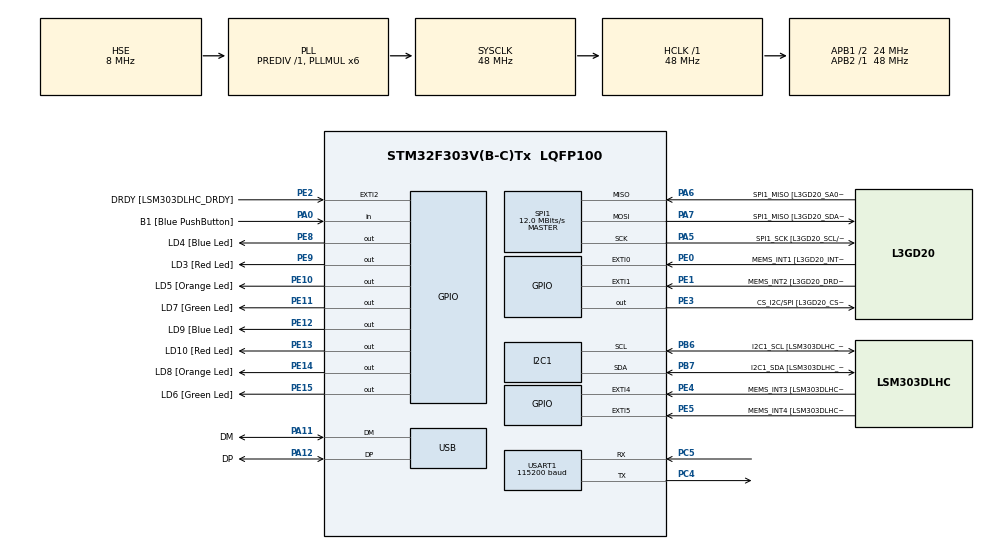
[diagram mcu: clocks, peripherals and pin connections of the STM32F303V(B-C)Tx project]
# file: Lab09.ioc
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I2C1.Timing=0x00201D2B
I2C1.Timing-I2C=0x2000090E
Mcu.Family=STM32F3
Mcu.Name=STM32F303V(B-C)Tx
Mcu.Package=LQFP100
NVIC.PriorityGroup=NVIC_PRIORITYGROUP_0
NVIC.USB_LP_CAN_RX0_IRQn=true\:0\:0\:false\:false\:true\:false\:true\:true
PA0.GPIO_Label=B1 [Blue PushButton]
PA0.Signal=GPIO_Input
PA11.GPIO_Label=DM
PA11.Mode=Device
PA11.Signal=USB_DM
PA12.GPIO_Label=DP
PA12.Mode=Device
PA12.Signal=USB_DP
PA13.GPIO_Label=SWDIO
PA13.Mode=Serial_Wire
PA13.Signal=SYS_JTMS-SWDIO
PA14.GPIO_Label=SWCLK
PA14.Mode=Serial_Wire
PA14.Signal=SYS_JTCK-SWCLK
PA5.GPIO_Label=SPI1_SCK [L3GD20_SCL/SPC]
PA5.Mode=Full_Duplex_Master
PA5.Signal=SPI1_SCK
PA6.GPIO_Label=SPI1_MISO [L3GD20_SA0/SDO]
PA6.Mode=Full_Duplex_Master
PA6.Signal=SPI1_MISO
PA7.GPIO_Label=SPI1_MISO [L3GD20_SDA/SDI/SDO]
PA7.Mode=Full_Duplex_Master
PA7.Signal=SPI1_MOSI
PB3.GPIO_Label=SWO
PB3.Signal=SYS_JTDO-TRACESWO
PB6.GPIO_Label=I2C1_SCL [LSM303DLHC_SCL]
PB6.GPIO_Pu=GPIO_PULLUP
PB6.Mode=I2C
PB6.Signal=I2C1_SCL
PB7.GPIO_Label=I2C1_SDA [LSM303DLHC_SDA]
PB7.GPIO_Pu=GPIO_PULLUP
PB7.Mode=I2C
PB7.Signal=I2C1_SDA
PC14-OSC32_IN.GPIO_Label=OSC32_IN
PC14-OSC32_IN.Signal=RCC_OSC32_IN
PC15-OSC32_OUT.GPIO_Label=OSC32_OUT
PC15-OSC32_OUT.Signal=RCC_OSC32_OUT
PC4.Mode=Asynchronous
PC4.Signal=USART1_TX
PC5.Mode=Asynchronous
PC5.Signal=USART1_RX
PE0.GPIO_Label=MEMS_INT1 [L3GD20_INT1]
PE0.GPIO_ModeDefaultEXTI=GPIO_MODE_EVT_RISING
PE0.Signal=GPXTI0
PE1.GPIO_Label=MEMS_INT2 [L3GD20_DRDY/INT2]
PE1.GPIO_ModeDefaultEXTI=GPIO_MODE_EVT_RISING
PE1.Signal=GPXTI1
PE10.GPIO_Label=LD5 [Orange Led]
PE10.Signal=GPIO_Output
PE11.GPIO_Label=LD7 [Green Led]
PE11.Signal=GPIO_Output
PE12.GPIO_Label=LD9 [Blue Led]
PE12.Signal=GPIO_Output
PE13.GPIO_Label=LD10 [Red Led]
PE13.Signal=GPIO_Output
PE14.GPIO_Label=LD8 [Orange Led]
PE14.Signal=GPIO_Output
PE15.GPIO_Label=LD6 [Green Led]
PE15.Signal=GPIO_Output
PE2.GPIO_Label=DRDY [LSM303DLHC_DRDY]
PE2.GPIO_ModeDefaultEXTI=GPIO_MODE_EVT_RISING
PE2.Signal=GPXTI2
PE3.GPIO_Label=CS_I2C/SPI [L3GD20_CS_I2C/SPI]
PE3.Signal=GPIO_Output
PE4.GPIO_Label=MEMS_INT3 [LSM303DLHC_INT1]
PE4.GPIO_ModeDefaultEXTI=GPIO_MODE_EVT_RISING
PE4.Signal=GPXTI4
PE5.GPIO_Label=MEMS_INT4 [LSM303DLHC_INT2]
PE5.GPIO_ModeDefaultEXTI=GPIO_MODE_EVT_RISING
PE5.Signal=GPXTI5
PE8.GPIO_Label=LD4 [Blue Led]
PE8.Signal=GPIO_Output
PE9.GPIO_Label=LD3 [Red Led]
PE9.Signal=GPIO_Output
PF0-OSC_IN.GPIO_Label=OSC_IN
PF0-OSC_IN.Mode=HSE-External-Clock-Source
PF0-OSC_IN.Signal=RCC_OSC_IN
PF1-OSC_OUT.GPIO_Label=OSC_OUT
PF1-OSC_OUT.Signal=RCC_OSC_OUT
ProjectManager.HeapSize=0x200
ProjectManager.StackSize=0x400
ProjectManager.TargetToolchain=CMake
RCC.AHBFreq_Value=48000000
RCC.APB1CLKDivider=RCC_HCLK_DIV2
RCC.APB1Freq_Value=24000000
RCC.APB1TimFreq_Value=48000000
RCC.APB2Freq_Value=48000000
RCC.APB2TimFreq_Value=48000000
RCC.CortexFreq_Value=48000000
RCC.HCLKFreq_Value=48000000
RCC.HSE_VALUE=8000000
RCC.HSI_VALUE=8000000
RCC.LSE_VALUE=32768
RCC.PLLMUL=RCC_PLL_MUL6
RCC.SYSCLKFreq_VALUE=48000000
RCC.SYSCLKSourceVirtual=RCC_SYSCLKSOURCE_PLLCLK
RCC.USBFreq_Value=48000000
SPI1.BaudRatePrescaler=SPI_BAUDRATEPRESCALER_4
SPI1.BaudRatePrescaler-Full_Duplex_Master=SPI_BAUDRATEPRESCALER_2
SPI1.CalculateBaudRate=12.0 MBits/s
SPI1.CalculateBaudRate-Full_Duplex_Master=24.0 MBits/s
SPI1.Direction=SPI_DIRECTION_2LINES
SPI1.Mode=SPI_MODE_MASTER
SPI1.Mode-Full_Duplex_Master=SPI_MODE_MASTER
SPI1.VirtualType=VM_MASTER
USART1.BaudRate=115200
USART1.VirtualMode-Asynchronous=VM_ASYNC
USB_DEVICE.CLASS_NAME_FS=CDC
USB_DEVICE.VirtualMode=Cdc
USB_DEVICE.VirtualModeFS=Cdc_FS
VP_USB_DEVICE_VS_USB_DEVICE_CDC_FS.Mode=CDC_FS
board=STM32F3DISCOVERY

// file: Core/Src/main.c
/* USER CODE BEGIN Header */
/**
  ******************************************************************************
  * @file           : main.c
  * @brief          : Main program body
  ******************************************************************************
  * @attention
  *
  * Copyright (c) 2026 STMicroelectronics.
  * All rights reserved.
  *
  * This software is licensed under terms that can be found in the LICENSE file
  * in the root directory of this software component.
  * If no LICENSE file comes with this software, it is provided AS-IS.
  *
  ******************************************************************************
  */
/* USER CODE END Header */
#include "main.h"
#include "usb_device.h"

/* USER CODE BEGIN Includes */

#include <stdio.h>
#include <string.h>
#include <math.h>

/* USER CODE END Includes */

/* USER CODE BEGIN PTD */

typedef struct {
    float ax, ay, az;
    float offset_x, offset_y, offset_z;
    float roll, pitch;
} LSM_Data;

/* USER CODE END PTD */

/* USER CODE BEGIN PD */

//TASK 01
// #define LSM303_ADDR   (0x19 << 1)
// #define WHO_AM_I_REG  0x0F

#define LSM303_ADDR  (0x19U << 1)
#define WHO_AM_I_REG 0x0FU
#define CTRL_REG1_A  0x20U
#define CTRL_REG4_A  0x23U
#define OUT_X_L_A    0x28U
#define ACC_G_PER_LSB 0.004f
#define RAD_TO_DEG 57.2957795f

/* USER CODE END PD */

I2C_HandleTypeDef hi2c1;

SPI_HandleTypeDef hspi1;

UART_HandleTypeDef huart1;

/* USER CODE BEGIN PV */

static LSM_Data sensor = {0};

/* USER CODE END PV */

void SystemClock_Config(void);
static void MX_GPIO_Init(void);
static void MX_I2C1_Init(void);
static void MX_SPI1_Init(void);
static void MX_USART1_UART_Init(void);

/* USER CODE BEGIN 0 */

  static HAL_StatusTypeDef Init_LSM(void)
  {
      uint8_t config = 0x67;  // 200 Hz, all axes enabled, normal mode
      if (HAL_I2C_Mem_Write(&hi2c1, LSM303_ADDR, CTRL_REG1_A,
                            I2C_MEMADD_SIZE_8BIT, &config, 1, 100) != HAL_OK)
          return HAL_ERROR;

      config = 0x00;         // +/-2g, normal resolution
      if (HAL_I2C_Mem_Write(&hi2c1, LSM303_ADDR, CTRL_REG4_A,
                            I2C_MEMADD_SIZE_8BIT, &config, 1, 100) != HAL_OK)
          return HAL_ERROR;

      HAL_Delay(50);
      return HAL_OK;
  }

  static HAL_StatusTypeDef Read_LSM(LSM_Data *s)
  {
      uint8_t data[6];
      // Bit 7 requests sequential register-address increment.
      if (HAL_I2C_Mem_Read(&hi2c1, LSM303_ADDR, OUT_X_L_A | 0x80U,
                          I2C_MEMADD_SIZE_8BIT, data, 6, 100) != HAL_OK)
          return HAL_ERROR;

      int16_t raw_x = (int16_t)(((uint16_t)data[1] << 8) | data[0]);
      int16_t raw_y = (int16_t)(((uint16_t)data[3] << 8) | data[2]);
      int16_t raw_z = (int16_t)(((uint16_t)data[5] << 8) | data[4]);

      // LSM303DLHC normal mode: signed 10-bit values left-aligned in 16 bits.
      // Integer division by 64 is used to avoid implementation-specific right
      // shifting of negative signed integers.
      s->ax = (raw_x / 64) * ACC_G_PER_LSB - s->offset_x;
      s->ay = (raw_y / 64) * ACC_G_PER_LSB - s->offset_y;
      s->az = (raw_z / 64) * ACC_G_PER_LSB - s->offset_z;

      s->roll = atan2f(s->ay, sqrtf(s->ax*s->ax + s->az*s->az)) * RAD_TO_DEG;
      s->pitch = atan2f(-s->ax, sqrtf(s->ay*s->ay + s->az*s->az)) * RAD_TO_DEG;
      return HAL_OK;
  }

  static HAL_StatusTypeDef Offset_LSM(LSM_Data *s)
  {
      float sx = 0, sy = 0, sz = 0;
      const int samples = 20;
      s->offset_x = s->offset_y = s->offset_z = 0.0f;

      for (int i = 0; i < samples; ++i)
      {
          if (Read_LSM(s) != HAL_OK)
              return HAL_ERROR;
          sx += s->ax;
          sy += s->ay;
          sz += s->az;
          HAL_Delay(20);
      }
      // Calibrate only while the board is flat and motionless.
      s->offset_x = sx / samples;
      s->offset_y = sy / samples;
      float avg_z = sz / samples;
      s->offset_z = avg_z - ((avg_z >= 0.0f) ? 1.0f : -1.0f);
      return HAL_OK;
  }

  static void Print_LSM(const LSM_Data *s)
  {
      char msg[128];
      int len = snprintf(msg, sizeof(msg), "%.3f  ,  %.3f  ,  %.3f  ,  %.2f ,  %.2f \r\n",
                        s->ax, s->ay, s->az, s->roll, s->pitch);
      if (len > 0)
      {
          if (len >= (int)sizeof(msg))
              len = sizeof(msg) - 1;
          HAL_UART_Transmit(&huart1, (uint8_t *)msg, (uint16_t)len, 100);
      }
  }

/* USER CODE END 0 */

int main(void)
{

  /* MCU Configuration--------------------------------------------------------*/

  /* Reset of all peripherals, Initializes the Flash interface and the Systick. */
  HAL_Init();

  /* Configure the system clock */
  SystemClock_Config();

  /* Initialize all configured peripherals */
  MX_GPIO_Init();
  MX_I2C1_Init();
  MX_SPI1_Init();
  MX_USART1_UART_Init();
  MX_USB_DEVICE_Init();

  /* USER CODE BEGIN 2 */

  HAL_Delay(500);

// Task 1 disabled
// LSM303_WhoAmI();

  // TASK 02
  uint8_t id = 0;
  if (HAL_I2C_Mem_Read(&hi2c1, LSM303_ADDR, WHO_AM_I_REG,
                     I2C_MEMADD_SIZE_8BIT, &id, 1, 100) != HAL_OK || id != 0x33)
{
    const char msg[] = "LSM WHO_AM_I FAILED\r\n";
    HAL_UART_Transmit(&huart1, (uint8_t *)msg, sizeof(msg)-1, 100);
    Error_Handler();
}

  if (Init_LSM() != HAL_OK)
  {
      const char msg[] = "LSM INIT FAILED\r\n";

      HAL_UART_Transmit(
          &huart1,
          (uint8_t *)msg,
          sizeof(msg) - 1,
          100
      );

      Error_Handler();
  }

  if (Offset_LSM(&sensor) != HAL_OK)
  {
    const char msg[] = "LSM CALIBRATION FAILED\r\n";

    HAL_UART_Transmit(
        &huart1,
        (uint8_t *)msg,
        sizeof(msg) - 1,
        100
    );

    Error_Handler();
  }

  /* USER CODE END 2 */

  /* Infinite loop */
  while (1)
  {

    /* USER CODE BEGIN 3 */

    //TASK 01
    // static uint8_t printed = 0;
    // if (printed == 0 && HAL_GetTick() >= 2000)
    // {
    //     uint8_t id = 0;
    //     char msg[100];
    //     HAL_StatusTypeDef status;
    //     status = HAL_I2C_IsDeviceReady(&hi2c1,LSM303_ADDR,3,
    //         100
    //     );

    //     if (status == HAL_OK)
    //     {
    //         status = HAL_I2C_Mem_Read(&hi2c1,LSM303_ADDR,
    //             WHO_AM_I_REG,
    //             I2C_MEMADD_SIZE_8BIT,
    //             &id,
    //             1,
    //             100
    //         );

    //         if (status == HAL_OK)
    //         {
    //             snprintf(
    //                 msg,
    //                 sizeof(msg),
    //                 "WHO_AM_I = 0x%02X\r\n",
    //                 id
    //             );

    //             HAL_UART_Transmit(
    //                 &huart1,
    //                 (uint8_t *)msg,
    //                 strlen(msg),
    //                 100
    //             );
    //         }
    //         else
    //         {
    //             char error[] = "I2C READ FAILED!\r\n";

    //             HAL_UART_Transmit(
    //                 &huart1,
    //                 (uint8_t *)error,
    //                 strlen(error),
    //                 100
    //             );
    //         }
    //     }
    //     else
    //     {
    //         char error[] = "I2C DEVICE NOT FOUND!\r\n";

    //         HAL_UART_Transmit(
    //             &huart1,
    //             (uint8_t *)error,
    //             strlen(error),
    //             100
    //         );
    //     }

    //     printed = 1;
    // }

    // HAL_Delay(100);

  //TASK 2
  if (Read_LSM(&sensor) == HAL_OK)
    {
        Print_LSM(&sensor);
    }
    else
    {
        const char msg[] = "LSM READ FAILED\r\n";

        HAL_UART_Transmit(
            &huart1,
            (uint8_t *)msg,
            sizeof(msg) - 1,
            100
        );
    }

    HAL_Delay(100);

  /* USER CODE END 3 */
}}

void SystemClock_Config(void)
{
  RCC_OscInitTypeDef RCC_OscInitStruct = {0};
  RCC_ClkInitTypeDef RCC_ClkInitStruct = {0};
  RCC_PeriphCLKInitTypeDef PeriphClkInit = {0};

  /** Initializes the RCC Oscillators according to the specified parameters
  * in the RCC_OscInitTypeDef structure.
  */
  RCC_OscInitStruct.OscillatorType = RCC_OSCILLATORTYPE_HSI|RCC_OSCILLATORTYPE_HSE;
  RCC_OscInitStruct.HSEState = RCC_HSE_BYPASS;
  RCC_OscInitStruct.HSEPredivValue = RCC_HSE_PREDIV_DIV1;
  RCC_OscInitStruct.HSIState = RCC_HSI_ON;
  RCC_OscInitStruct.HSICalibrationValue = RCC_HSICALIBRATION_DEFAULT;
  RCC_OscInitStruct.PLL.PLLState = RCC_PLL_ON;
  RCC_OscInitStruct.PLL.PLLSource = RCC_PLLSOURCE_HSE;
  RCC_OscInitStruct.PLL.PLLMUL = RCC_PLL_MUL6;
  if (HAL_RCC_OscConfig(&RCC_OscInitStruct) != HAL_OK)
  {
    Error_Handler();
  }

  /** Initializes the CPU, AHB and APB buses clocks
  */
  RCC_ClkInitStruct.ClockType = RCC_CLOCKTYPE_HCLK|RCC_CLOCKTYPE_SYSCLK
                              |RCC_CLOCKTYPE_PCLK1|RCC_CLOCKTYPE_PCLK2;
  RCC_ClkInitStruct.SYSCLKSource = RCC_SYSCLKSOURCE_PLLCLK;
  RCC_ClkInitStruct.AHBCLKDivider = RCC_SYSCLK_DIV1;
  RCC_ClkInitStruct.APB1CLKDivider = RCC_HCLK_DIV2;
  RCC_ClkInitStruct.APB2CLKDivider = RCC_HCLK_DIV1;

  if (HAL_RCC_ClockConfig(&RCC_ClkInitStruct, FLASH_LATENCY_1) != HAL_OK)
  {
    Error_Handler();
  }
  PeriphClkInit.PeriphClockSelection = RCC_PERIPHCLK_USB|RCC_PERIPHCLK_USART1
                              |RCC_PERIPHCLK_I2C1;
  PeriphClkInit.Usart1ClockSelection = RCC_USART1CLKSOURCE_PCLK2;
  PeriphClkInit.I2c1ClockSelection = RCC_I2C1CLKSOURCE_HSI;
  PeriphClkInit.USBClockSelection = RCC_USBCLKSOURCE_PLL;
  if (HAL_RCCEx_PeriphCLKConfig(&PeriphClkInit) != HAL_OK)
  {
    Error_Handler();
  }
}

static void MX_I2C1_Init(void)
{

  hi2c1.Instance = I2C1;
  hi2c1.Init.Timing = 0x00201D2B;
  hi2c1.Init.OwnAddress1 = 0;
  hi2c1.Init.AddressingMode = I2C_ADDRESSINGMODE_7BIT;
  hi2c1.Init.DualAddressMode = I2C_DUALADDRESS_DISABLE;
  hi2c1.Init.OwnAddress2 = 0;
  hi2c1.Init.OwnAddress2Masks = I2C_OA2_NOMASK;
  hi2c1.Init.GeneralCallMode = I2C_GENERALCALL_DISABLE;
  hi2c1.Init.NoStretchMode = I2C_NOSTRETCH_DISABLE;
  if (HAL_I2C_Init(&hi2c1) != HAL_OK)
  {
    Error_Handler();
  }

  /** Configure Analogue filter
  */
  if (HAL_I2CEx_ConfigAnalogFilter(&hi2c1, I2C_ANALOGFILTER_ENABLE) != HAL_OK)
  {
    Error_Handler();
  }

  /** Configure Digital filter
  */
  if (HAL_I2CEx_ConfigDigitalFilter(&hi2c1, 0) != HAL_OK)
  {
    Error_Handler();
  }

}

static void MX_SPI1_Init(void)
{

  /* SPI1 parameter configuration*/
  hspi1.Instance = SPI1;
  hspi1.Init.Mode = SPI_MODE_MASTER;
  hspi1.Init.Direction = SPI_DIRECTION_2LINES;
  hspi1.Init.DataSize = SPI_DATASIZE_4BIT;
  hspi1.Init.CLKPolarity = SPI_POLARITY_LOW;
  hspi1.Init.CLKPhase = SPI_PHASE_1EDGE;
  hspi1.Init.NSS = SPI_NSS_SOFT;
  hspi1.Init.BaudRatePrescaler = SPI_BAUDRATEPRESCALER_4;
  hspi1.Init.FirstBit = SPI_FIRSTBIT_MSB;
  hspi1.Init.TIMode = SPI_TIMODE_DISABLE;
  hspi1.Init.CRCCalculation = SPI_CRCCALCULATION_DISABLE;
  hspi1.Init.CRCPolynomial = 7;
  hspi1.Init.CRCLength = SPI_CRC_LENGTH_DATASIZE;
  hspi1.Init.NSSPMode = SPI_NSS_PULSE_ENABLE;
  if (HAL_SPI_Init(&hspi1) != HAL_OK)
  {
    Error_Handler();
  }

}

static void MX_USART1_UART_Init(void)
{

  huart1.Instance = USART1;
  huart1.Init.BaudRate = 115200;
  huart1.Init.WordLength = UART_WORDLENGTH_8B;
  huart1.Init.StopBits = UART_STOPBITS_1;
  huart1.Init.Parity = UART_PARITY_NONE;
  huart1.Init.Mode = UART_MODE_TX_RX;
  huart1.Init.HwFlowCtl = UART_HWCONTROL_NONE;
  huart1.Init.OverSampling = UART_OVERSAMPLING_16;
  huart1.Init.OneBitSampling = UART_ONE_BIT_SAMPLE_DISABLE;
  huart1.AdvancedInit.AdvFeatureInit = UART_ADVFEATURE_NO_INIT;
  if (HAL_UART_Init(&huart1) != HAL_OK)
  {
    Error_Handler();
  }

}

static void MX_GPIO_Init(void)
{
  GPIO_InitTypeDef GPIO_InitStruct = {0};

  /* GPIO Ports Clock Enable */
  __HAL_RCC_GPIOE_CLK_ENABLE();
  __HAL_RCC_GPIOC_CLK_ENABLE();
  __HAL_RCC_GPIOF_CLK_ENABLE();
  __HAL_RCC_GPIOA_CLK_ENABLE();
  __HAL_RCC_GPIOB_CLK_ENABLE();

  /*Configure GPIO pin Output Level */
  HAL_GPIO_WritePin(GPIOE, CS_I2C_SPI_Pin|LD4_Pin|LD3_Pin|LD5_Pin
                          |LD7_Pin|LD9_Pin|LD10_Pin|LD8_Pin
                          |LD6_Pin, GPIO_PIN_RESET);

  /*Configure GPIO pins : DRDY_Pin MEMS_INT3_Pin MEMS_INT4_Pin MEMS_INT1_Pin
                           MEMS_INT2_Pin */
  GPIO_InitStruct.Pin = DRDY_Pin|MEMS_INT3_Pin|MEMS_INT4_Pin|MEMS_INT1_Pin
                          |MEMS_INT2_Pin;
  GPIO_InitStruct.Mode = GPIO_MODE_EVT_RISING;
  GPIO_InitStruct.Pull = GPIO_NOPULL;
  HAL_GPIO_Init(GPIOE, &GPIO_InitStruct);

  /*Configure GPIO pins : CS_I2C_SPI_Pin LD4_Pin LD3_Pin LD5_Pin
                           LD7_Pin LD9_Pin LD10_Pin LD8_Pin
                           LD6_Pin */
  GPIO_InitStruct.Pin = CS_I2C_SPI_Pin|LD4_Pin|LD3_Pin|LD5_Pin
                          |LD7_Pin|LD9_Pin|LD10_Pin|LD8_Pin
                          |LD6_Pin;
  GPIO_InitStruct.Mode = GPIO_MODE_OUTPUT_PP;
  GPIO_InitStruct.Pull = GPIO_NOPULL;
  GPIO_InitStruct.Speed = GPIO_SPEED_FREQ_LOW;
  HAL_GPIO_Init(GPIOE, &GPIO_InitStruct);

  /*Configure GPIO pin : B1_Pin */
  GPIO_InitStruct.Pin = B1_Pin;
  GPIO_InitStruct.Mode = GPIO_MODE_INPUT;
  GPIO_InitStruct.Pull = GPIO_NOPULL;
  HAL_GPIO_Init(B1_GPIO_Port, &GPIO_InitStruct);

}

void Error_Handler(void)
{
  __disable_irq();
  while (1)
  {
  }
}
